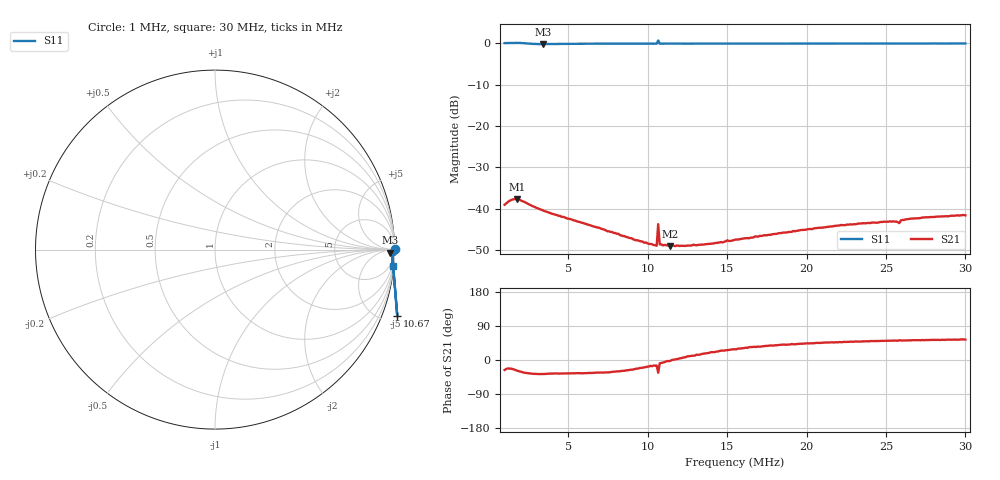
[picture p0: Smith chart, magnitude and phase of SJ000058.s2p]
!File created by NanoVNA-F V2
# Hz S RI R 50
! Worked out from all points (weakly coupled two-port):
!   301 points, 1 MHz to 30 MHz, reference 50 ohm
!   highest |S21| = -37.66 dB at 1.773 MHz (marker M1); lowest = -49.0 dB at 11.44 MHz (marker M2)
!   lowest |S11| = -0.2 dB at 3.417 MHz (marker M3), VSWR 81.50, Z = 2.64e+03 - j1.95e+03 ohm
!   |S11| at or under -10 dB: nowhere
!   S12 and S22 are empty: the file has one direction only
!   S11 on the Smith chart (normalised r, x): 1 MHz: open; 10.67 MHz: -1.23, -5.41; 30 MHz: 2, -21
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1000000  1.004 0.00532  0.0101 -0.00496  0 0  0 0
1289998  1.008 -0.000393  0.0115 -0.00474  0 0  0 0
1773328  1.009 -0.0148  0.0116 -0.0061  0 0  0 0
2449990  0.9919 -0.0339  0.00944 -0.00657  0 0  0 0
3416650  0.9756 -0.0176  0.00766 -0.00576  0 0  0 0
5833300  0.9856 -0.0153  0.00558 -0.00392  0 0  0 0
8153284  0.9885 -0.0221  0.00433 -0.00251  0 0  0 0
9216610  0.9871 -0.0261  0.00383 -0.00171  0 0  0 0
1.056993e7  0.9875 -0.0304  0.00347 -0.000899  0 0  0 0
1.06666e7  1.015 -0.3691  0.00544 -0.00362  0 0  0 0
1.076327e7  0.9875 -0.03  0.00367 -0.000558  0 0  0 0
1.143993e7  0.9889 -0.0323  0.00354 -0.000124  0 0  0 0
1.395324e7  0.9889 -0.0395  0.00354 0.0013  0 0  0 0
1.54999e7  0.9895 -0.0449  0.00373 0.002  0 0  0 0
2.03332e7  0.9893 -0.0599  0.00408 0.00395  0 0  0 0
2.216985e7  0.9896 -0.0678  0.00434 0.00468  0 0  0 0
2.51665e7  0.9894 -0.076  0.00443 0.00539  0 0  0 0
2.564983e7  0.9881 -0.0784  0.0044 0.00547  0 0  0 0
2.584316e7  0.9886 -0.0782  0.00411 0.00531  0 0  0 0
2.593983e7  0.9889 -0.0788  0.00451 0.00568  0 0  0 0
2.661649e7  0.9897 -0.0816  0.00468 0.00603  0 0  0 0
2.99998e7  0.989 -0.0919  0.00491 0.00675  0 0  0 0
